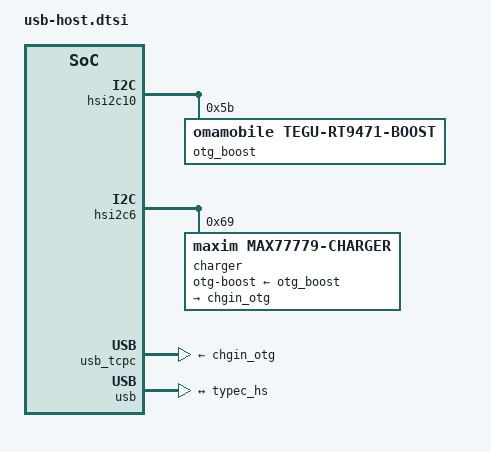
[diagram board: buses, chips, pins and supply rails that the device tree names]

/*
 * USB-C host mode (ot2): the RT9470's OTG boost on hsi2c10, the MAX77779
 * charger's chgin-otg regulator on top of it (charger to standby, then the
 * boost, as Google's ext-otg-only use case), the TCPC sourcing VBUS from
 * it as a dual-role port that prefers sink, and the port's data role
 * driving the dwc3 role switch. Source PDO from stock (fixed 5 V, 900 mA).
 */
&hsi2c10 {
	otg_boost: regulator@5b {
		compatible = "omamobile,tegu-rt9471-boost";
		reg = <0x5b>;
		regulator-name = "otg-boost";
	};
};

&hsi2c6 {
	charger@69 {
		compatible = "maxim,max77779-charger";
		reg = <0x69>;
		otg-boost-supply = <&otg_boost>;

		chgin_otg: chgin-otg-regulator {
			regulator-name = "chgin-otg";
		};
	};
};

&usb_tcpc {
	vbus-supply = <&chgin_otg>;

	connector {
		power-role = "dual";
		try-power-role = "sink";
		source-pdos = <PDO_FIXED(5000, 900, PDO_FIXED_USB_COMM | PDO_FIXED_DATA_SWAP)>;

		port {
			typec_hs: endpoint {
				remote-endpoint = <&usb_hs>;
			};
		};
	};
};

&usb {
	port {
		usb_hs: endpoint {
			remote-endpoint = <&typec_hs>;
		};
	};
};
